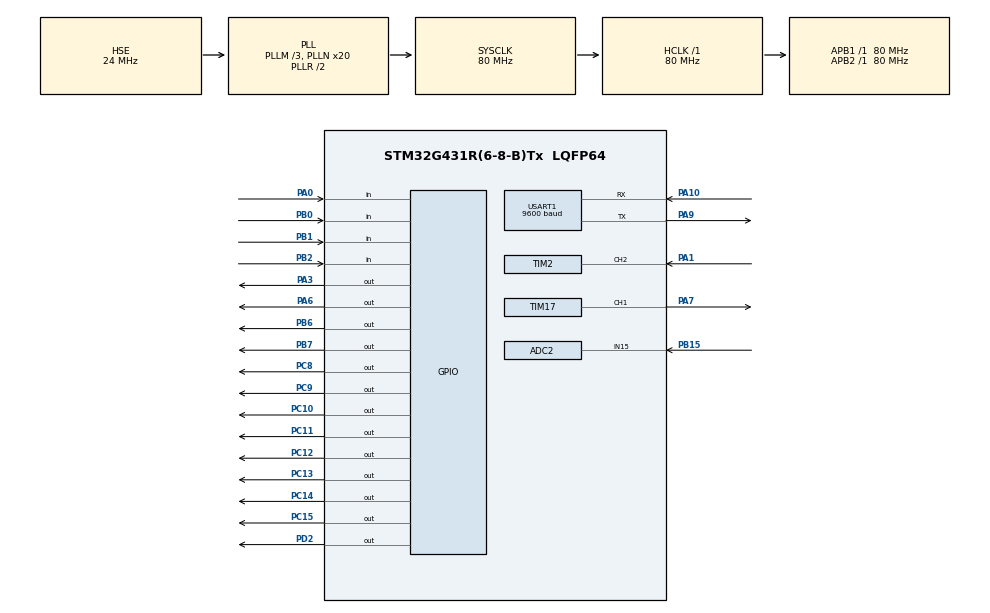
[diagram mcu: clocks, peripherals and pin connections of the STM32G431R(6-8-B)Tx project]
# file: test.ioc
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ADC2.Channel-4\#ChannelRegularConversion=ADC_CHANNEL_15
ADC2.NbrOfConversionFlag=1
ADC2.OffsetNumber-4\#ChannelRegularConversion=ADC_OFFSET_NONE
ADC2.Rank-4\#ChannelRegularConversion=1
ADC2.SamplingTime-4\#ChannelRegularConversion=ADC_SAMPLETIME_640CYCLES_5
Mcu.Family=STM32G4
Mcu.Name=STM32G431R(6-8-B)Tx
Mcu.Package=LQFP64
NVIC.PriorityGroup=NVIC_PRIORITYGROUP_4
NVIC.TIM1_BRK_TIM15_IRQn=true\:0\:0\:false\:false\:true\:true\:true
NVIC.TIM1_TRG_COM_TIM17_IRQn=true\:0\:0\:false\:false\:true\:true\:true
NVIC.TIM1_UP_TIM16_IRQn=true\:0\:0\:false\:false\:true\:true\:true
NVIC.TIM2_IRQn=true\:0\:0\:false\:false\:true\:true\:true
NVIC.TIM3_IRQn=true\:0\:0\:false\:false\:true\:true\:true
NVIC.TIM4_IRQn=true\:0\:0\:false\:false\:true\:true\:true
NVIC.TIM6_DAC_IRQn=true\:0\:0\:false\:false\:true\:true\:true
NVIC.USART1_IRQn=true\:0\:0\:false\:false\:true\:true\:true
PA0.GPIO_PuPd=GPIO_PULLUP
PA0.Signal=GPIO_Input
PA1.Signal=S_TIM2_CH2
PA10.Mode=Asynchronous
PA10.Signal=USART1_RX
PA13.Mode=Serial_Wire
PA13.Signal=SYS_JTMS-SWDIO
PA14.Mode=Serial_Wire
PA14.Signal=SYS_JTCK-SWCLK
PA3.Signal=GPIO_Output
PA6.GPIO_PuPd=GPIO_PULLUP
PA6.GPIO_Speed=GPIO_SPEED_FREQ_HIGH
PA6.Signal=GPIO_Output
PA7.Signal=S_TIM17_CH1
PA9.Mode=Asynchronous
PA9.Signal=USART1_TX
PB0.GPIO_PuPd=GPIO_PULLUP
PB0.Signal=GPIO_Input
PB1.GPIO_PuPd=GPIO_PULLUP
PB1.Signal=GPIO_Input
PB15.Mode=IN15-Single-Ended
PB15.Signal=ADC2_IN15
PB2.GPIO_PuPd=GPIO_PULLUP
PB2.Signal=GPIO_Input
PB6.Signal=GPIO_Output
PB7.GPIO_Speed=GPIO_SPEED_FREQ_HIGH
PB7.Signal=GPIO_Output
PC10.PinState=GPIO_PIN_SET
PC10.Signal=GPIO_Output
PC11.PinState=GPIO_PIN_SET
PC11.Signal=GPIO_Output
PC12.PinState=GPIO_PIN_SET
PC12.Signal=GPIO_Output
PC13.PinState=GPIO_PIN_SET
PC13.Signal=GPIO_Output
PC14-OSC32_IN.PinState=GPIO_PIN_SET
PC14-OSC32_IN.Signal=GPIO_Output
PC15-OSC32_OUT.PinState=GPIO_PIN_SET
PC15-OSC32_OUT.Signal=GPIO_Output
PC8.PinState=GPIO_PIN_SET
PC8.Signal=GPIO_Output
PC9.PinState=GPIO_PIN_SET
PC9.Signal=GPIO_Output
PD2.Signal=GPIO_Output
PF0-OSC_IN.Mode=HSE-External-Oscillator
PF0-OSC_IN.Signal=RCC_OSC_IN
PF1-OSC_OUT.Mode=HSE-External-Oscillator
PF1-OSC_OUT.Signal=RCC_OSC_OUT
ProjectManager.HeapSize=0x200
ProjectManager.StackSize=0x400
ProjectManager.TargetToolchain=MDK-ARM V5.32
RCC.ADC12Freq_Value=80000000
RCC.AHBFreq_Value=80000000
RCC.APB1Freq_Value=80000000
RCC.APB1TimFreq_Value=80000000
RCC.APB2Freq_Value=80000000
RCC.APB2TimFreq_Value=80000000
RCC.CortexFreq_Value=80000000
RCC.EXTERNAL_CLOCK_VALUE=12288000
RCC.HCLKFreq_Value=80000000
RCC.HSE_VALUE=24000000
RCC.HSI48_VALUE=48000000
RCC.HSI_VALUE=16000000
RCC.LSE_VALUE=32768
RCC.PLLM=RCC_PLLM_DIV3
RCC.PLLN=20
RCC.PLLSourceVirtual=RCC_PLLSOURCE_HSE
RCC.RTCClockSelection=RCC_RTCCLKSOURCE_HSE_DIV32
RCC.SYSCLKFreq_VALUE=80000000
RCC.SYSCLKSource=RCC_SYSCLKSOURCE_PLLCLK
RCC.USBFreq_Value=80000000
RCC.VCOOutputFreq_Value=160000000
RTC.AsynchPrediv=125
RTC.Hours=23
RTC.Minutes=59
RTC.Month=RTC_MONTH_MARCH
RTC.Seconds=55
RTC.SynchPrediv=6000
RTC.WeekDay=RTC_WEEKDAY_FRIDAY
RTC.Year=24
SH.S_TIM17_CH1.0=TIM17_CH1,PWM Generation1 CH1
SH.S_TIM2_CH2.0=TIM2_CH2,Input_Capture2_from_TI2
TIM15.Prescaler=80-1
TIM16.PeriodNoDither=65535
TIM16.Prescaler=80-1
TIM17.Channel=TIM_CHANNEL_1
TIM17.PeriodNoDither=100
TIM17.Prescaler=8000-1
TIM17.PulseNoDither_1=50
TIM2.Channel-Input_Capture1_from_TI2_63=TIM_CHANNEL_1
TIM2.Channel-Input_Capture2_from_TI2=TIM_CHANNEL_2
TIM2.CounterMode=TIM_COUNTERMODE_UP
TIM2.ICPolarity_CH1=TIM_INPUTCHANNELPOLARITY_RISING
TIM2.ICPolarity_CH2=TIM_INPUTCHANNELPOLARITY_FALLING
TIM2.PeriodNoDither=65535
TIM2.Prescaler=80-1
TIM3.Prescaler=80-1
TIM4.PeriodNoDither=10000-1
TIM4.Prescaler=80-1
TIM6.PeriodNoDither=10000-1
TIM6.Prescaler=80-1
USART1.BaudRate=9600
USART1.VirtualMode-Asynchronous=VM_ASYNC
VP_RTC_VS_RTC_Activate.Mode=RTC_Enabled
VP_RTC_VS_RTC_Calendar.Mode=RTC_Calendar
VP_SYS_VS_DBSignals.Mode=DisableDeadBatterySignals
VP_TIM15_VS_ClockSourceINT.Mode=Internal
VP_TIM16_VS_ClockSourceINT.Mode=Enable_Timer
VP_TIM17_VS_ClockSourceINT.Mode=Enable_Timer
VP_TIM2_VS_ClockSourceINT.Mode=Internal
VP_TIM2_VS_indirect_ch2.Mode=Input_Capture1_from_TI2_63
VP_TIM3_VS_ClockSourceINT.Mode=Internal
VP_TIM4_VS_ClockSourceINT.Mode=Internal
VP_TIM6_VS_ClockSourceINT.Mode=Enable_Timer
board=custom

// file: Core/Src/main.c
/* USER CODE BEGIN Header */
/**
 ******************************************************************************
 * @file           : main.c
 * @brief          : Main program body
 ******************************************************************************
 * @attention
 *
 * Copyright (c) 2024 STMicroelectronics.
 * All rights reserved.
 *
 * This software is licensed under terms that can be found in the LICENSE file
 * in the root directory of this software component.
 * If no LICENSE file comes with this software, it is provided AS-IS.
 *
 ******************************************************************************
 */
/* USER CODE END Header */
#include "main.h"
#include "adc.h"
#include "rtc.h"
#include "tim.h"
#include "usart.h"
#include "gpio.h"

/* USER CODE BEGIN Includes */
#include "LED.h"
#include "lcd.h"
#include "stdio.h"
#include "string.h"
#include "Key.h"
#include "interrupt.h"
#include "badc.h"
#include "i2c - hal.h"
#include "PWM.h"
#include "seg_LED.h"
#include "adc_key.h"
#include "ds18b20.h"
#include "dht11.h"
/* USER CODE END Includes */

/* USER CODE BEGIN PTD */

/*执行速度控制变量*/
__IO uint32_t uwTick_LED_Speed_Ctrl;
__IO uint32_t uwTick_KEY_Speed_Ctrl;
__IO uint32_t uwTick_LCD_Speed_Ctrl;
__IO uint32_t uwTick_RTC_Speed_Ctrl;
__IO uint32_t uwTick_Record_Speed_Ctrl;
__IO uint32_t uwTick_IM_MC_Speed_Ctrl;
__IO uint32_t uwTick_IM_DY_Speed_Ctrl;
__IO uint32_t uwTick_Time_Count;
__IO uint32_t uwTick_Time_Count_IM_MC;
__IO uint32_t uwTick_Time_Count_IM_DY;

/* USER CODE END PTD */

/* USER CODE BEGIN PD */
/*全局变量区*/
uint8_t ucLED;

uint8_t LCD_String_Disp[21]; // 显示屏显示数据存储数组
uint8_t LCD_Disp_Change = 0; // 显示屏切换界面变量
uint8_t LCD_Line_Change = 1; // 显示屏选择行 1-第一行 2-第二行 3-第三行 默认为0不选择 无高亮文本

uint8_t PA6_duty = 10, PA7_duty = 10;
uint16_t PA6_Frq = 100, PA7_Frq = 200;

uint8_t EEPROM_Save[4] = {10, 10}; // EEPROM芯片中存取的数据
uint8_t EEPROM_Disp[4] = {10, 10}; // EEPROM数据显示数组

uint8_t segBuff[3]; // Seg数码管显示数组

ADC2_ChannelValues adcValues; // ADC多通道扫描数值结构体
uint8_t ADC_Key;              // ADC_KEY按键值

// 用于存储时间和日期的结构体
RTC_TimeTypeDef RTC_Time = {0};
RTC_DateTypeDef RTC_Date = {0};
char dateTimeBuffer[50]; // 存储日期时间字符串

float ADC_Value;
float DS_temp;
uint16_t Frq_value;
float Duty_value;

uint8_t ADC_Over_flag, DS_Over_flag, Frq_Over_flag;

uint8_t Key_Lock;       // 按键上锁标志位
uint8_t Record_Ok_flag; // 记录完成标志位

#define ARRAY_SIZE 150

float Record_ADC_R37[ARRAY_SIZE], Record_Duty_PA1[ARRAY_SIZE];
uint16_t Record_Frq_PA1[ARRAY_SIZE];

uint8_t Record_ADC_index, Record_Frq_index, Record_Duty_index;
uint8_t index_old;

uint8_t maichong_flag;
uint8_t dianya_flag;

float K, B;

uint16_t Duty_set;

typedef struct
{
  uint16_t FH;
  float AH;
  int16_t TH;

  uint16_t FH_buff;
  float AH_buff;
  int16_t TH_buff;
} PARA;

typedef struct
{
  uint16_t FN;
  uint16_t AN;
  uint16_t TN;

} RECD;

typedef struct
{
  uint16_t FP;
  float VP;
  uint16_t TT;

  uint16_t FP_buff;
  float VP_buff;
  uint16_t TT_buff;
} FSET;

PARA PARA_T;
RECD RECD_T;
FSET FSET_T;

/*拓展变量区*/
extern uint8_t single_key_flag[4]; // 按键单击
extern uint8_t double_key_flag[4]; // 按键双击
extern uint8_t long_key_flag[4];   // 按键长按
extern uint16_t key_time[4];
extern uint8_t single_ADC_key_flag[8]; // ADC按键单击
extern uint8_t double_ADC_key_flag[8]; // ADC按键双击
extern uint8_t long_ADC_key_flag[8];   // ADC按键长按

extern uint16_t frq1, frq2; // 输入捕获测量的频率
extern float duty1, duty2;  // 占空比

// extern uint32_t RP[4]; // 轮询ADC采集值或者占空比值

extern char rxdata[30]; // 串口接收数组
extern uint8_t rxdat;
extern unsigned char rx_pointer;

/* USER CODE END PD */

/* USER CODE BEGIN PM */

/*子函数声明区*/

void LCD_Proc(void);
void KEY_Proc(void);
void LED_Proc(void);
void RTC_Proc(void);
void ADC_Proc(void);
void USART_Proc(void);
void Record_Proc_1(void);
void Record_Proc_2(void);
void imfor_recorve_MC_1(void);
void imfor_recorve_MC_2(void);
void imfor_recorve_DY_1(void);
void imfor_recorve_DY_2(void);
/* USER CODE END PM */

void SystemClock_Config(void);

int main(void)
{

  /* MCU Configuration--------------------------------------------------------*/

  /* Reset of all peripherals, Initializes the Flash interface and the Systick. */
  HAL_Init();

  /* Configure the system clock */
  SystemClock_Config();

  /* Initialize all configured peripherals */
  MX_GPIO_Init();
  MX_TIM2_Init();
  MX_TIM16_Init();
  MX_TIM17_Init();
  MX_TIM3_Init();
  MX_TIM4_Init();
  MX_ADC2_Init();
  MX_USART1_UART_Init();
  MX_RTC_Init();
  MX_TIM15_Init();
  MX_TIM6_Init();
  /* USER CODE BEGIN 2 */

  /*LED灯初始化*/
  LED_Init();

  /*LCD显示屏初始化*/
  LCD_Init();
  LCD_Clear(Black);
  LCD_SetBackColor(Black);
  LCD_SetTextColor(White);

  /*定时器4基本中断开启,按键中断定时器 时间到就进中断检测按键是否按下*/
  HAL_TIM_Base_Start_IT(&htim4);

  /*定时器6基本中断开启,ADC按键中断定时器 时间到就进中断检测按键是否按下*/
  HAL_TIM_Base_Start_IT(&htim6);

  /*定时器17通道1 PWM生成,PA7 引脚PWM生成定时器*/
  HAL_TIM_PWM_Start(&htim17, TIM_CHANNEL_1);

  /*定时器2通道1 输入捕获中断开启,PA15引脚*/
  HAL_TIM_IC_Start_IT(&htim2, TIM_CHANNEL_1);
  /*定时器2通道2 输入捕获中断开启,PA15引脚*/
  HAL_TIM_IC_Start_IT(&htim2, TIM_CHANNEL_2);

  HAL_ADCEx_Calibration_Start(&hadc2, ADC_SINGLE_ENDED); // 校准ADC2，PB15引脚

  /********************************串口接收中断开启***********************************************************/
  HAL_UART_Receive_IT(&huart1, &rxdat, 1);

  /********************************EEPROM存储读取***********************************************************/
  I2C_24c02_Read((uint8_t *)&EEPROM_Save[3], 0x37, 1); // 读取一次判断是否第一次上电

  if (EEPROM_Save[3] != 9) // 初次上电 占空比为10，10
  {
    EEPROM_Save[3] = 9; // 将该位的值改为9写入eeprom中 用于判断非第一次上电 确保再次上电读取eeprom中设置的阈值 以免第一次直接赋值0
    I2C_24c02_Write((uint8_t *)&EEPROM_Save[3], 0x37, 1);
    HAL_Delay(10);
    I2C_24c02_Write((uint8_t *)EEPROM_Save, 0x00, 2); // 将阈值写入EEPROM中
  }
  else // 再次上电读取eeprom中设置的阈值 更新显示的阈
  {
    I2C_24c02_Read(EEPROM_Save, 0x00, 2); // 读取EEPROM中的值
    HAL_Delay(10);
    EEPROM_Disp[0] = EEPROM_Save[0];
    EEPROM_Disp[1] = EEPROM_Save[1];
  }
  /********************************EEPROM存储读取***********************************************************/

  PARA_T.FH = PARA_T.FH_buff = 2000;
  PARA_T.AH = PARA_T.AH_buff = 3.0f;
  PARA_T.TH = PARA_T.TH_buff = 30;

  RECD_T.AN = 0;
  RECD_T.FN = 0;
  RECD_T.TN = 0;

  FSET_T.FP = FSET_T.FP_buff = 1;
  FSET_T.TT = FSET_T.TT_buff = 6;
  FSET_T.VP = FSET_T.VP_buff = 0.9f;

  Frq_value = frq1;
  Duty_value = duty1;

  /* USER CODE END 2 */

  /* Infinite loop */
  while (1)
  {

    /* USER CODE BEGIN 3 */
    /*代码写在该行下面 否则会被初始化*/

    LCD_Proc();
    KEY_Proc();
    LED_Proc();
    RTC_Proc();
    ADC_Proc();
    Record_Proc_1();
    imfor_recorve_MC_1();
    imfor_recorve_DY_1();

    if (rx_pointer != 0)
    {
      int temp = rx_pointer;
      HAL_Delay(1);
      if (temp == rx_pointer)
        USART_Proc(); // 完成接收
    }
  }
  /* USER CODE END 3 */
}

void SystemClock_Config(void)
{
  RCC_OscInitTypeDef RCC_OscInitStruct = {0};
  RCC_ClkInitTypeDef RCC_ClkInitStruct = {0};

  /** Configure the main internal regulator output voltage
   */
  HAL_PWREx_ControlVoltageScaling(PWR_REGULATOR_VOLTAGE_SCALE1);
  /** Initializes the RCC Oscillators according to the specified parameters
   * in the RCC_OscInitTypeDef structure.
   */
  RCC_OscInitStruct.OscillatorType = RCC_OSCILLATORTYPE_HSE;
  RCC_OscInitStruct.HSEState = RCC_HSE_ON;
  RCC_OscInitStruct.PLL.PLLState = RCC_PLL_ON;
  RCC_OscInitStruct.PLL.PLLSource = RCC_PLLSOURCE_HSE;
  RCC_OscInitStruct.PLL.PLLM = RCC_PLLM_DIV3;
  RCC_OscInitStruct.PLL.PLLN = 20;
  RCC_OscInitStruct.PLL.PLLP = RCC_PLLP_DIV2;
  RCC_OscInitStruct.PLL.PLLQ = RCC_PLLQ_DIV2;
  RCC_OscInitStruct.PLL.PLLR = RCC_PLLR_DIV2;
  if (HAL_RCC_OscConfig(&RCC_OscInitStruct) != HAL_OK)
  {
    Error_Handler();
  }
  /** Initializes the CPU, AHB and APB buses clocks
   */
  RCC_ClkInitStruct.ClockType = RCC_CLOCKTYPE_HCLK | RCC_CLOCKTYPE_SYSCLK | RCC_CLOCKTYPE_PCLK1 | RCC_CLOCKTYPE_PCLK2;
  RCC_ClkInitStruct.SYSCLKSource = RCC_SYSCLKSOURCE_PLLCLK;
  RCC_ClkInitStruct.AHBCLKDivider = RCC_SYSCLK_DIV1;
  RCC_ClkInitStruct.APB1CLKDivider = RCC_HCLK_DIV1;
  RCC_ClkInitStruct.APB2CLKDivider = RCC_HCLK_DIV1;

  if (HAL_RCC_ClockConfig(&RCC_ClkInitStruct, FLASH_LATENCY_2) != HAL_OK)
  {
    Error_Handler();
  }
}

/* USER CODE BEGIN 4 */

/*****************************************LED灯控制函数***************************************************/
void LED_Proc(void)
{
  if ((uwTick - uwTick_LED_Speed_Ctrl) < 100)
    return;
  uwTick_LED_Speed_Ctrl = uwTick; // 200ms执行一次

  // ucLED ^= 0x01;  //异或运算 相同为0，不同为1

  if (Key_Lock == 1)
    ucLED ^= 0x01;
  else
    ucLED &= 0xFE;

  if (maichong_flag)
    ucLED ^= 0x02;
  else
    ucLED &= 0xFD;

  if (dianya_flag)
    ucLED ^= 0x04;
  else
    ucLED &= 0xFB;

  if (Frq_Over_flag)
    ucLED |= 0x08;
  else
    ucLED &= 0xF7;

  if (ADC_Over_flag)
    ucLED |= 0x10;
  else
    ucLED &= 0xEF;

  if (DS_Over_flag)
    ucLED |= 0x20;
  else
    ucLED &= 0xDF;

  LED_Disp(ucLED);
}

/*****************************************显示屏控制函数***************************************************/
void LCD_Proc(void)
{
  if ((uwTick - uwTick_LCD_Speed_Ctrl) < 100)
    return;
  uwTick_LCD_Speed_Ctrl = uwTick;

  ADC_Value = Get_ADC(&hadc2);
  DS_temp = ds18b20Read();

  if (Frq_value > PARA_T.FH && Frq_Over_flag == 0)
  {
    RECD_T.FN++;
    Frq_Over_flag = 1;
  }
  else if (Frq_value < PARA_T.FH)
  {
    Frq_Over_flag = 0;
  }

  if (ADC_Value > PARA_T.AH && ADC_Over_flag == 0)
  {
    RECD_T.AN++;
    ADC_Over_flag = 1;
  }
  else if (ADC_Value < PARA_T.AH)
  {
    ADC_Over_flag = 0;
  }

  if (DS_temp > PARA_T.TH && DS_Over_flag == 0)
  {
    RECD_T.TN++;
    DS_Over_flag = 1;
  }
  else if (DS_temp < PARA_T.TH)
  {
    DS_Over_flag = 0;
  }

  if (LCD_Disp_Change == 0)
  {
    LCD_SetTextColor(White); // 初始文本颜色 防止受上一个对文本颜色的改变影响

    memset(LCD_String_Disp, 0, sizeof(LCD_String_Disp));
    sprintf((char *)LCD_String_Disp, "DATA  ");
    LCD_DisplayStringAtLineColumn(Line2, Col9, LCD_String_Disp);

    memset(LCD_String_Disp, 0, sizeof(LCD_String_Disp));
    sprintf((char *)LCD_String_Disp, "F=%d    ", Frq_value);
    LCD_DisplayStringAtLineColumn(Line4, Col6, LCD_String_Disp);

    memset(LCD_String_Disp, 0, sizeof(LCD_String_Disp));
    sprintf((char *)LCD_String_Disp, "D=%d%%    ", (int)Duty_value);
    LCD_DisplayStringAtLineColumn(Line5, Col6, LCD_String_Disp);

    memset(LCD_String_Disp, 0, sizeof(LCD_String_Disp));
    sprintf((char *)LCD_String_Disp, "A=%.1f    ", ADC_Value);
    LCD_DisplayStringAtLineColumn(Line6, Col6, LCD_String_Disp);

    memset(LCD_String_Disp, 0, sizeof(LCD_String_Disp));
    sprintf((char *)LCD_String_Disp, "T=%.1f    ", DS_temp);
    LCD_DisplayStringAtLineColumn(Line7, Col6, LCD_String_Disp);
  }
  else if (LCD_Disp_Change == 1)
  {
    LCD_SetTextColor(White); // 初始文本颜色 防止受上一个对文本颜色的改变影响

    memset(LCD_String_Disp, 0, sizeof(LCD_String_Disp));
    sprintf((char *)LCD_String_Disp, "PARA    ");
    LCD_DisplayStringAtLineColumn(Line2, Col9, LCD_String_Disp);

    memset(LCD_String_Disp, 0, sizeof(LCD_String_Disp));
    sprintf((char *)LCD_String_Disp, "FH=%d    ", PARA_T.FH_buff);
    LCD_DisplayStringAtLineColumn(Line4, Col6, LCD_String_Disp);

    memset(LCD_String_Disp, 0, sizeof(LCD_String_Disp));
    sprintf((char *)LCD_String_Disp, "AH=%.1f    ", PARA_T.AH_buff);
    LCD_DisplayStringAtLineColumn(Line5, Col6, LCD_String_Disp);

    memset(LCD_String_Disp, 0, sizeof(LCD_String_Disp));
    sprintf((char *)LCD_String_Disp, "TH=%d   ", PARA_T.TH_buff);
    LCD_DisplayStringAtLineColumn(Line6, Col6, LCD_String_Disp);
  }
  else if (LCD_Disp_Change == 2)
  {
    LCD_SetTextColor(White); // 初始文本颜色 防止受上一个对文本颜色的改变影响

    memset(LCD_String_Disp, 0, sizeof(LCD_String_Disp));
    sprintf((char *)LCD_String_Disp, "RECD  ");
    LCD_DisplayStringAtLineColumn(Line2, Col9, LCD_String_Disp);

    memset(LCD_String_Disp, 0, sizeof(LCD_String_Disp));
    sprintf((char *)LCD_String_Disp, "FN=%d    ", RECD_T.FN);
    LCD_DisplayStringAtLineColumn(Line4, Col6, LCD_String_Disp);

    memset(LCD_String_Disp, 0, sizeof(LCD_String_Disp));
    sprintf((char *)LCD_String_Disp, "AN=%d    ", RECD_T.AN);
    LCD_DisplayStringAtLineColumn(Line5, Col6, LCD_String_Disp);

    memset(LCD_String_Disp, 0, sizeof(LCD_String_Disp));
    sprintf((char *)LCD_String_Disp, "TN=%d    ", RECD_T.TN);
    LCD_DisplayStringAtLineColumn(Line6, Col6, LCD_String_Disp);
  }
  else
  {

    LCD_SetTextColor(White); // 初始文本颜色 防止受上一个对文本颜色的改变影响

    memset(LCD_String_Disp, 0, sizeof(LCD_String_Disp));
    sprintf((char *)LCD_String_Disp, "FSET  ");
    LCD_DisplayStringAtLineColumn(Line2, Col9, LCD_String_Disp);

    memset(LCD_String_Disp, 0, sizeof(LCD_String_Disp));
    sprintf((char *)LCD_String_Disp, "FP=%d    ", FSET_T.FP_buff);
    LCD_DisplayStringAtLineColumn(Line4, Col6, LCD_String_Disp);

    memset(LCD_String_Disp, 0, sizeof(LCD_String_Disp));
    sprintf((char *)LCD_String_Disp, "VP=%.1f    ", FSET_T.VP_buff);
    LCD_DisplayStringAtLineColumn(Line5, Col6, LCD_String_Disp);

    memset(LCD_String_Disp, 0, sizeof(LCD_String_Disp));
    sprintf((char *)LCD_String_Disp, "TT=%d    ", FSET_T.TT_buff);
    LCD_DisplayStringAtLineColumn(Line6, Col6, LCD_String_Disp);
  }
}

/*****************************************按键控制函数***************************************************/

void KEY_Proc(void)
{
  if ((uwTick - uwTick_KEY_Speed_Ctrl) < 50)
    return;
  uwTick_KEY_Speed_Ctrl = uwTick; // 50ms执行一次

  if (Key_Lock == 0)
  {
    if (single_key_flag[0] == 1) // 按键1单击刷新显示屏
    {
      LCD_Disp_Change += 1; // 0-实时数据界面 1-报警参数界面  2-报警统计界面 3-回放设置界面
      if (LCD_Disp_Change > 3)
        LCD_Disp_Change = 0;

      LCD_Line_Change = 1; // 切换界面默认选择行为第一行

      PARA_T.AH = PARA_T.AH_buff; // 按下按键1切换界面时，设置的值生效
      PARA_T.FH = PARA_T.FH_buff;
      PARA_T.TH = PARA_T.TH_buff;

      FSET_T.FP = FSET_T.FP_buff;
      FSET_T.TT = FSET_T.TT_buff;
      FSET_T.VP = FSET_T.VP_buff;

      LCD_Clear(Black);
      single_key_flag[0] = 0;
    }

    if (single_key_flag[1] == 1) // 按键2单击
    {
      if (LCD_Disp_Change == 0) // 在实时数据界面  “记录”按键
      {
        // 按下按键后，系统开始记录R37输出电压和输入到PA1引脚的脉冲信号频率，占空比
        // 记录完成前，所有按键失效，处于“锁定”状态，记录完成后恢复，只保留一组记录数据
        Key_Lock = 1;
      }

      if (LCD_Disp_Change == 1) // 在报警参数界面
      {
        // 切换选择(FH)(AH)(TH)
        LCD_Line_Change += 1;
        if (LCD_Line_Change > 3)
          LCD_Line_Change = 1;
        // 退出报警参数界面，设置生效
      }

      if (LCD_Disp_Change == 2) // 在报警统计界面
      {
        // 清零所有统计次数
        RECD_T.AN = 0;
        RECD_T.FN = 0;
        RECD_T.TN = 0;
      }

      if (LCD_Disp_Change == 3) // 在回放设置界面
      {
        // 切换选择(FP)(VP)(TT)
        LCD_Line_Change += 1;
        if (LCD_Line_Change > 3)
          LCD_Line_Change = 1;
        // 退出回放设置界面，设置生效
      }

      single_key_flag[1] = 0;
    }

    if (single_key_flag[2] == 1) // 按键3单击
    {
      if (LCD_Disp_Change == 0) // 实时数据界面
      {
        // 若设备完成了数据记录 则通过PA7引脚回放“电压信号”
        if (Record_Ok_flag && maichong_flag == 0)
        {
          dianya_flag = 1;
        }
      }

      if (LCD_Disp_Change == 1) // 报警参数界面
      {
        // 根据选择行  对应行++
        // FH += 1000  AH += 0.3 TH += 1
        if (LCD_Line_Change == 1)
        {
          PARA_T.FH_buff += 1000;
          if (PARA_T.FH_buff > 10000)
            PARA_T.FH_buff = 10000;
        }

        if (LCD_Line_Change == 2)
        {
          PARA_T.AH_buff += 0.3f;
          if (PARA_T.AH_buff > 3.3f)
            PARA_T.AH_buff = 3.3f;
        }

        if (LCD_Line_Change == 3)
        {
          PARA_T.TH_buff += 1;
          if (PARA_T.TH_buff > 80)
            PARA_T.TH_buff = 80;
        }
      }

      if (LCD_Disp_Change == 3) // 回放设置界面
      {
        // 根据选择行  对应行++
        // FP += 1  VP += 0.3 TT += 2
        if (LCD_Line_Change == 1)
        {
          FSET_T.FP_buff += 1;
          if (FSET_T.FP_buff > 10)
            FSET_T.FP_buff = 10;
        }

        if (LCD_Line_Change == 2)
        {
          FSET_T.VP_buff += 0.3f;
          if (FSET_T.VP_buff > 3.3f)
            FSET_T.VP_buff = 3.3f;
        }

        if (LCD_Line_Change == 3)
        {
          FSET_T.TT_buff += 2;
          if (FSET_T.TT_buff > 10)
            FSET_T.TT_buff = 10;
        }
      }
      single_key_flag[2] = 0;
    }

    if (single_key_flag[3] == 1) // 按键4单击
    {
      if (LCD_Disp_Change == 0) // 实时数据界面
      {
        // 若设备完成了数据记录 则通过PA7引脚回放“脉冲信号”
        if (Record_Ok_flag && dianya_flag == 0)
        {
          maichong_flag = 1;
        }
      }

      if (LCD_Disp_Change == 1) // 报警参数界面
      {
        // 根据选择行  对应行--
        // FH -= 1000  AH -= 0.3 TH -= 1
        if (LCD_Line_Change == 1)
        {
          PARA_T.FH_buff -= 1000;
          if (PARA_T.FH_buff < 1000)
            PARA_T.FH_buff = 1000;
        }

        if (LCD_Line_Change == 2)
        {
          PARA_T.AH_buff -= 0.3f;
          if (PARA_T.AH_buff < 0.0f)
            PARA_T.AH_buff = 0.0f;
        }

        if (LCD_Line_Change == 3)
        {
          PARA_T.TH_buff -= 1;
          if (PARA_T.TH_buff < 0)
            PARA_T.TH_buff = 0;
        }
      }

      if (LCD_Disp_Change == 3) // 回放设置界面
      {
        // 根据选择行  对应行--
        // FP -= 1  VP -= 0.3 TT -= 2
        if (LCD_Line_Change == 1)
        {
          FSET_T.FP_buff -= 1;
          if (FSET_T.FP_buff < 1)
            FSET_T.FP_buff = 1;
        }

        if (LCD_Line_Change == 2)
        {
          FSET_T.VP_buff -= 0.3f;
          if (FSET_T.VP_buff < 0.0f)
            FSET_T.VP_buff = 0.0f;
        }

        if (LCD_Line_Change == 3)
        {
          FSET_T.TT_buff -= 2;
          if (FSET_T.TT_buff < 2)
            FSET_T.TT_buff = 2;
        }
      }
      single_key_flag[3] = 0;
    }

    //
    //
    // 在任何界面下 所检测到B3 B4均处于按下状态且时间超过2s 回到初始状态
    if (HAL_GPIO_ReadPin(GPIOB, GPIO_PIN_2) == 0 && HAL_GPIO_ReadPin(GPIOA, GPIO_PIN_0) == 0 &&
        key_time[2] > 200 && key_time[3] > 200)
    {

      PARA_T.FH = PARA_T.FH_buff = 2000;
      PARA_T.AH = PARA_T.AH_buff = 3.0f;
      PARA_T.TH = PARA_T.TH_buff = 30;

      RECD_T.AN = 0;
      RECD_T.FN = 0;
      RECD_T.TN = 0;

      FSET_T.FP = FSET_T.FP_buff = 1;
      FSET_T.TT = FSET_T.TT_buff = 6;
      FSET_T.VP = FSET_T.VP_buff = 0.9f;

      long_key_flag[2] = 0;
      long_key_flag[3] = 0;

      LCD_Disp_Change = 0; // 回到初始界面
    }
  }

  if (Key_Lock)
  {
    single_key_flag[0] = 0;
    single_key_flag[1] = 0;
    single_key_flag[2] = 0;
    single_key_flag[3] = 0;
  }
}

/*****************************************ADC处理函数***************************************************/

void ADC_Proc(void)
{

  adcValues = Read_ADC2_Channels();

  ADC_Key = Scan_Btn(adcValues.AdcChannel13Value); // 中位值滤波获取ADC_Key的键值
}

/*****************************************串口接收函数***************************************************/

void USART_Proc(void)
{

  if (rx_pointer > 0)
  {
    if (rx_pointer == 1)
    {
      if (rxdata[0] == 'C')
      {
        // printf("F:%.2f\r\n", duty1);
      }

      else if (rxdata[0] == 'S')
      {
        printf("ADC1:%d\r\n", 1);
      }
      else
      {
        printf("Error\r\n");
      }
    }

    rx_pointer = 0;
    memset(rxdata, 0, 30);
  }
}

void Record_Proc_1(void) // 记录处理函数
{

  if (Key_Lock == 1 && (uwTick - uwTick_Time_Count) < FSET_T.TT * 1000)
  {
    Record_Proc_2();
  }
  else if (Key_Lock == 1 && (uwTick - uwTick_Time_Count) > FSET_T.TT * 1000)
  {
    Key_Lock = 0;
    Record_Ok_flag = 1;
    index_old = Record_ADC_index;

    Record_ADC_index = 0;
    Record_Frq_index = 0;
    Record_Duty_index = 0;

    printf("ok\r\n");
  }
  else if (Key_Lock == 0)
  {
    uwTick_Time_Count = uwTick;
  }
}

void Record_Proc_2(void) // 记录处理函数
{
  if ((uwTick - uwTick_Record_Speed_Ctrl) < 50)
    return;
  uwTick_Record_Speed_Ctrl = uwTick; // 50ms执行一次

  Record_ADC_R37[Record_ADC_index++] = ADC_Value;
  Record_Frq_PA1[Record_Frq_index++] = Frq_value;
  Record_Duty_PA1[Record_Duty_index++] = Duty_value;
}

void imfor_recorve_MC_1(void)
{

  if (maichong_flag == 1 && (uwTick - uwTick_Time_Count_IM_MC) < FSET_T.TT * 1000)
  {
    imfor_recorve_MC_2();
  }
  else if (maichong_flag == 1 && (uwTick - uwTick_Time_Count_IM_MC) > FSET_T.TT * 1000)
  {
    maichong_flag = 0;
    Record_Duty_index = 0;
    Record_ADC_index = 0;
    PWM_Set_Duty(&htim17, TIM_CHANNEL_1, 0);
    printf("ok\r\n");
  }
  else if (maichong_flag == 0)
  {
    uwTick_Time_Count_IM_MC = uwTick;
  }
}

void imfor_recorve_MC_2(void)
{
  if ((uwTick - uwTick_IM_MC_Speed_Ctrl) < 50)
    return;
  uwTick_IM_MC_Speed_Ctrl = uwTick; // 50ms执行一次

  PWM_Set_Duty(&htim17, TIM_CHANNEL_1, Record_Duty_PA1[Record_Duty_index++]);
  PWM_Set_Frequency(&htim17, TIM_CHANNEL_1, Record_Frq_PA1[Record_ADC_index++] / FSET_T.FP);
}

void imfor_recorve_DY_1(void)
{

  if (dianya_flag == 1 && (uwTick - uwTick_Time_Count_IM_DY) < FSET_T.TT * 1000)
  {
    imfor_recorve_DY_2();
  }
  else if (dianya_flag == 1 && (uwTick - uwTick_Time_Count_IM_DY) > FSET_T.TT * 1000)
  {
    dianya_flag = 0;
    Record_ADC_index = 0;
    printf("ok\r\n");
  }
  else if (dianya_flag == 0)
  {
    uwTick_Time_Count_IM_DY = uwTick;
  }
}

void imfor_recorve_DY_2(void)
{
  if ((uwTick - uwTick_IM_DY_Speed_Ctrl) < 50)
    return;
  uwTick_IM_DY_Speed_Ctrl = uwTick; // 50ms执行一次

  if (Record_ADC_R37[Record_ADC_index++] > FSET_T.VP)
  {
    K = 90.0f / (3.3f - FSET_T.VP);
    B = 100.0f - (297.0f / (3.3f - FSET_T.VP));
    Duty_set = (uint16_t)(K * Record_ADC_R37[Record_ADC_index - 1] + B);
    PWM_Set_Duty(&htim17, TIM_CHANNEL_1, Duty_set);
  }
  else if (Record_ADC_R37[Record_ADC_index++] < FSET_T.VP)
  {
    PWM_Set_Duty(&htim17, TIM_CHANNEL_1, 10);
  }
  else if (Record_ADC_R37[Record_ADC_index++] > 3.3f)
  {
    PWM_Set_Duty(&htim17, TIM_CHANNEL_1, 100);
  }

  PWM_Set_Frequency(&htim17, TIM_CHANNEL_1, 1000);
}

/*RTC时钟配置*/

void RTC_Proc(void)
{
  if ((uwTick - uwTick_RTC_Speed_Ctrl) < 100)
    return;
  uwTick_RTC_Speed_Ctrl = uwTick; // 100ms执行一次

  Frq_value = frq1;
  Duty_value = duty1;

  // 获取当前时间和日期
  HAL_RTC_GetTime(&hrtc, &RTC_Time, RTC_FORMAT_BIN);
  HAL_RTC_GetDate(&hrtc, &RTC_Date, RTC_FORMAT_BIN);

  // printf("Date: %02d-%02d-%02d Time: %02d:%02d:%02d\r\n", RTC_Date.Year, RTC_Date.Month, RTC_Date.Date,
  //        RTC_Time.Hours, RTC_Time.Minutes, RTC_Time.Seconds);
}

/*串口重定向*/
int fputc(int ch, FILE *f)
{
  char c = ch;
  HAL_UART_Transmit(&huart1, (uint8_t *)&c, 1, 50);
  return ch;
}

/* USER CODE END 4 */

void Error_Handler(void)
{
  __disable_irq();
  while (1)
  {
  }
}
